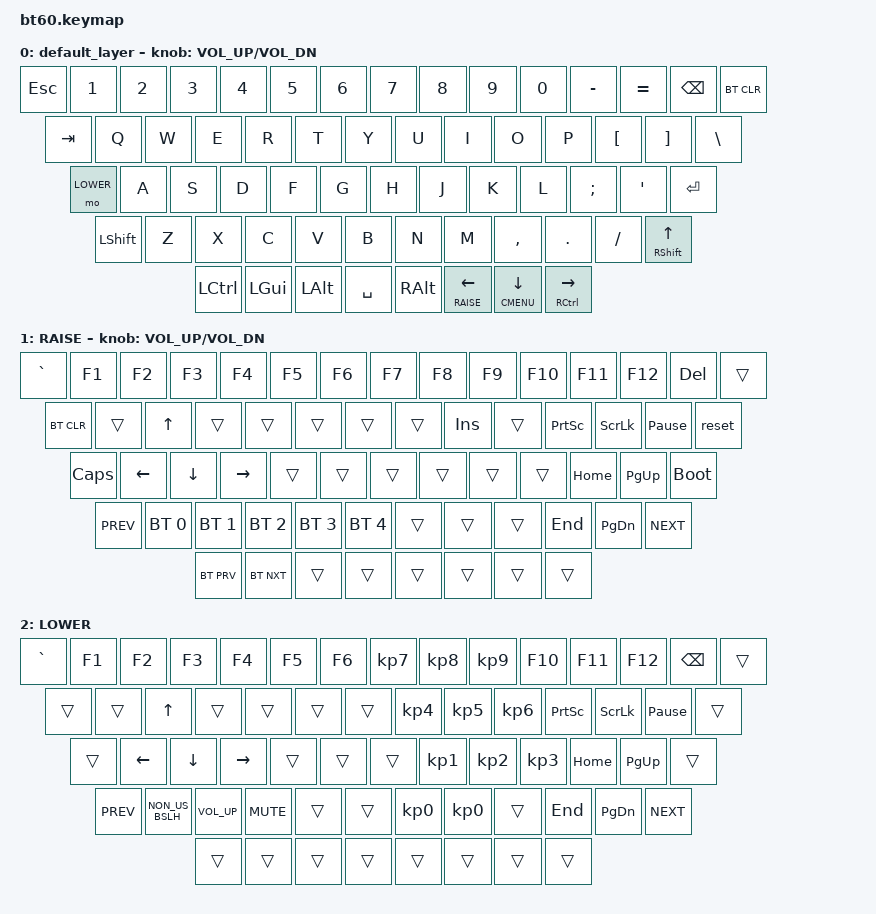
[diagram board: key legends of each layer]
#include <behaviors.dtsi>
#include <dt-bindings/zmk/keys.h>
#include <dt-bindings/zmk/bt.h>

#define RAISE 1
#define LOWER 2

/ {
	keymap {
		compatible = "zmk,keymap";

		default_layer {
				// ------------------------------------------------------------------------------------------
				// | ESC |  1  |  2  |  3  |  4  |  5  |  6  |  7  |  8  |  9  |  0  |  -  |  =  |   BKSP   | DEL
				// | TAB  |  Q  |  W  |  E  |  R  |  T  |  Y  |  U  |  I  |  O  |  P  |  [  |  ]  |   |    |
				// | CAPS  |  A  |  S  |  D  |  F  |  G  |  H  |  J  |  K  |  L  |  ;  |  '  |     ENTER    |
				// |  SHIFT    |  Z  |  X  |  C  |  V  |  B  |  N  |  M  |  ,  |  .  | /   |      SHIFT     |
				// |  CTL  |  WIN  |  ALT  |            SPACE               | ALT | 1    |  MENU    |  CTRL    |
				// ------------------------------------------------------------------------------------------
			bindings = <
				&kp ESC &kp N1 &kp N2 &kp N3 &kp N4 &kp N5 &kp N6 &kp N7 &kp  N8   &kp  N9 &kp  N0  &kp MINUS &kp EQUAL &kp BSPC &bt BT_CLR
				&kp TAB  &kp Q  &kp W  &kp E  &kp R  &kp T  &kp Y  &kp U  &kp  I    &kp  O  &kp  P   &kp LBKT &kp RBKT  &kp BSLH
				&mo LOWER  &kp A  &kp S  &kp D  &kp F  &kp G  &kp H  &kp J  &kp  K    &kp  L  &kp SEMI &kp SQT           &kp RET
				&kp LSHFT  &kp Z  &kp X  &kp C  &kp V  &kp B  &kp N  &kp M  &kp COMMA &kp DOT &kp FSLH             &mt RSHFT UP
				&kp LCTRL &kp LGUI &kp LALT            &kp SPACE                          &kp RALT  &lt RAISE LEFT &mt K_CMENU DOWN &mt RCTRL RIGHT
			>;
			sensor-bindings = <&inc_dec_kp C_VOL_UP C_VOL_DN>;
		};
		RAISE {
			bindings = <
				&kp GRAVE &kp F1 &kp F2 &kp F3 &kp F4 &kp F5 &kp F6 &kp F7 &kp  F8   &kp  F9 &kp  F10  &kp F11 &kp F12   &kp DEL &trans
				&bt BT_CLR &trans &kp UP &trans &trans &trans &trans &trans &kp INS &trans &kp PSCRN &kp SLCK &kp PAUSE_BREAK &reset
				&kp CLCK &kp LEFT &kp DOWN &kp RIGHT &trans &trans &trans &trans &trans &trans &kp HOME  &kp PG_UP   &bootloader
				&kp C_PREV &bt BT_SEL 0 &bt BT_SEL 1 &bt BT_SEL 2 &bt BT_SEL 3 &bt BT_SEL 4 &trans &trans &trans &kp END &kp PG_DN  &kp C_NEXT
				&bt BT_PRV &bt BT_NXT  &trans              &trans                            &trans   &trans   &trans &trans
			>;
			sensor-bindings = <&inc_dec_kp C_VOL_UP C_VOL_DN>;
		};
		LOWER {
			bindings = <
				&kp GRAVE &kp F1 &kp F2 &kp F3 &kp F4 &kp F5 &kp F6 &kp KP_N7 &kp  KP_N8 &kp KP_N9 &kp  F10  &kp F11 &kp F12   &kp BSPC &trans
				&trans &trans &kp UP &trans &trans &trans &trans &kp KP_N4 &kp KP_N5 &kp KP_N6 &kp PSCRN &kp SLCK &kp PAUSE_BREAK &trans
				&trans &kp LEFT &kp DOWN &kp RIGHT &trans &trans &trans &kp KP_N1 &kp KP_N2 &kp KP_N3 &kp HOME  &kp PG_UP   &trans
				&kp C_PREV &kp NON_US_BSLH &kp C_VOL_UP &kp C_MUTE &trans &trans &kp KP_N0 &kp KP_N0 &trans &kp END &kp PG_DN  &kp C_NEXT
				&trans &trans  &trans              &trans                            &trans   &trans   &trans &trans
			>;
		};
	};
